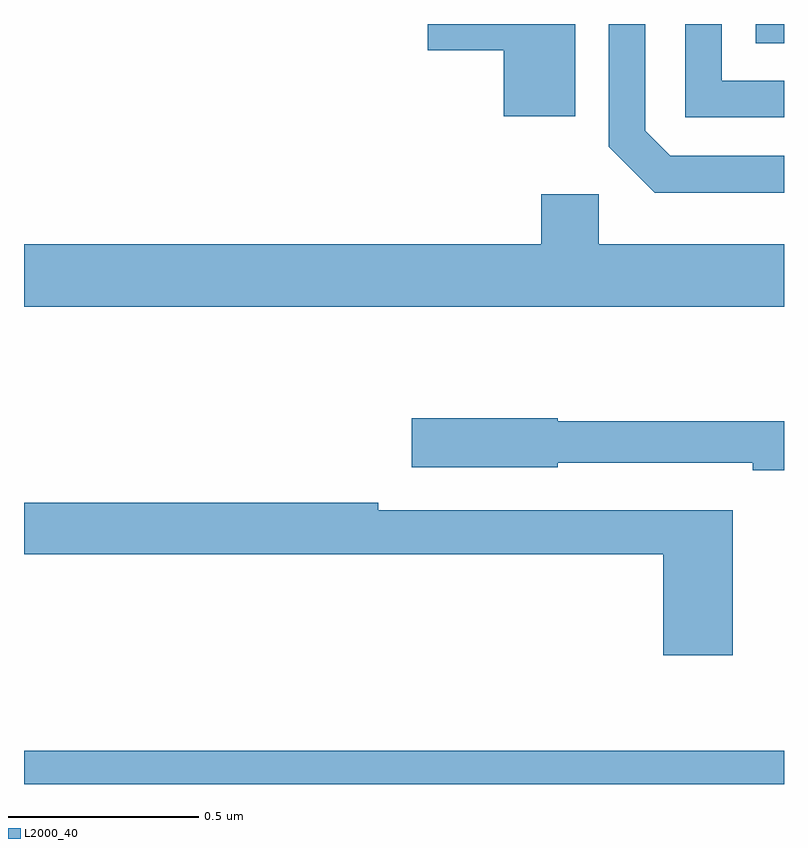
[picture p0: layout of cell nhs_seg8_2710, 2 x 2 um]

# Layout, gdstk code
import gdstk
lib = gdstk.Library(unit=1e-6, precision=1e-09)
def R(c, l, rs):  # rectangles x0, y0, x1, y1
    for r in rs: c.add(gdstk.rectangle(r[:2], r[2:], *l))
def P(c, l, *ps):  # polygons
    for p in ps: c.add(gdstk.Polygon(p, *l))
L2000_40 = (2000, 40)

nhs_seg8_2710 = lib.new_cell('nhs_seg8_2710')
R(nhs_seg8_2710, L2000_40, [(147,1125.9,149,1125.988), (148.925,1127.849,149,1127.9)])
P(nhs_seg8_2710, L2000_40, [(148.45,1127.9),(148.062,1127.9),(148.062,1127.831),(148.262,1127.831),(148.262,1127.657),(148.45,1127.657)],
  [(149,1127.751),(148.836,1127.751),(148.836,1127.9),(148.74,1127.9),(148.74,1127.655),(149,1127.655)],
  [(149,1127.553),(148.701,1127.553),(148.635,1127.619),(148.635,1127.9),(148.539,1127.9),(148.539,1127.577),(148.66,1127.456),(149,1127.456)],
  [(149,1127.32),(148.512,1127.32),(148.512,1127.452),(148.361,1127.452),(148.361,1127.32),(147,1127.32),(147,1127.156),(149,1127.156)],
  [(149,1126.855),(148.404,1126.855),(148.404,1126.863),(148.02,1126.863),(148.02,1126.733),(148.404,1126.733),(148.404,1126.746),(148.918,1126.746),(148.918,1126.726),(149,1126.726)],
  [(148.865,1126.62),(147.932,1126.62),(147.932,1126.64),(147,1126.64),(147,1126.504),(148.682,1126.504),(148.682,1126.239),(148.865,1126.239)])

lib.write_gds('nhs_seg8_2710.gds')
